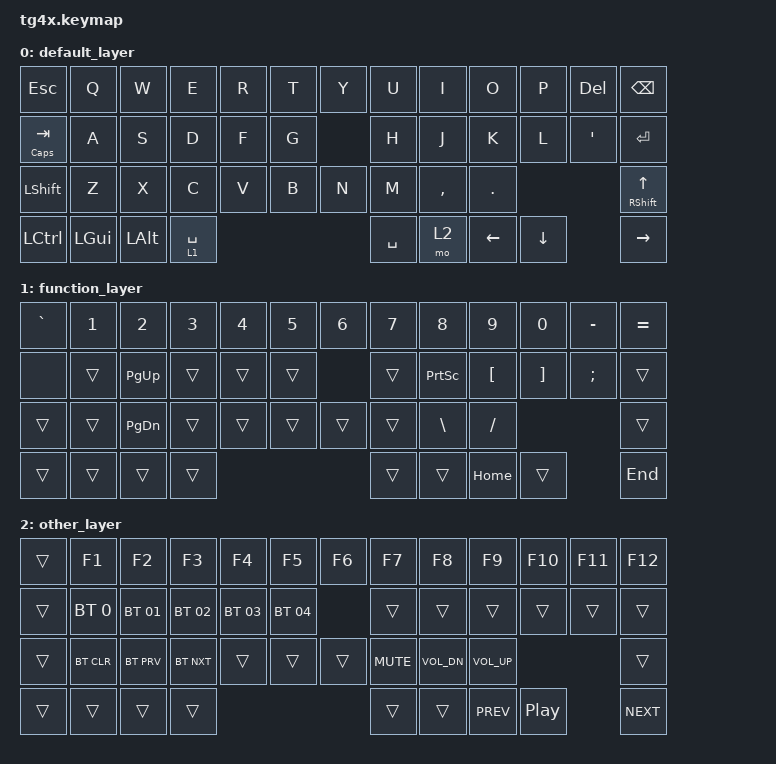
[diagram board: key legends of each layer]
/*
 * Copyright (c) 2020 The ZMK Contributors
 *
 * SPDX-License-Identifier: MIT
 */

#include <behaviors.dtsi>
#include <dt-bindings/zmk/keys.h>
#include <dt-bindings/zmk/bt.h>

/ {
	behaviors {
		ht: hold_tap {
			compatible = "zmk,behavior-hold-tap";
			label = "Hold Tap";
			#binding-cells = <2>;
			tapping-term-ms = <200>;
			flavor = "tap-preferred";
			bindings = <&kp>, <&kp>;
		};
	};

	keymap {
		compatible = "zmk,keymap";

		default_layer {
			bindings = <
&kp ESC      &kp Q    &kp W    &kp E       &kp R &kp T &kp Y &kp U    &kp I     &kp O    &kp P    &kp DEL  &kp BSPC
&ht CAPS TAB &kp A    &kp S    &kp D       &kp F &kp G &kp H &kp J    &kp K     &kp L    &kp APOS           &kp RET
&kp LSHFT    &kp Z    &kp X    &kp C       &kp V &kp B &kp N &kp M    &kp COMMA &kp DOT                     &ht RSHFT UP
&kp LCTRL    &kp LGUI &kp LALT &lt 1 SPACE                  &kp SPACE &mo 2     &kp LEFT &kp DOWN           &kp RIGHT
			>;
		};

		function_layer {
			bindings = <
&kp GRAVE &kp N1   &kp N2    &kp N3 &kp N4 &kp N5 &kp N6   &kp N7    &kp N8    &kp N9    &kp N0   &kp MINUS &kp EQUAL
&none     &trans   &kp PG_UP &trans &trans &trans &trans   &kp PSCRN &kp LBKT  &kp RBKT  &kp SEMI           &trans
&trans    &trans   &kp PG_DN &trans &trans &trans &trans   &trans    &kp BSLH  &kp FSLH                     &trans
&trans    &trans   &trans    &trans                        &trans    &trans    &kp HOME  &trans             &kp END
			>;
		};

		other_layer {
			bindings = <
&trans     &kp F1       &kp F2        &kp F3        &kp F4        &kp F5        &kp F6 &kp F7     &kp F8         &kp F9       &kp F10  &kp F11 &kp F12
&trans     &bt BT_SEL 0 &bt BT_SEL 01 &bt BT_SEL 02 &bt BT_SEL 03 &bt BT_SEL 04 &trans &trans     &trans         &trans       &trans           &trans
&trans     &bt BT_CLR   &bt BT_PRV    &bt BT_NXT    &trans        &trans        &trans &kp C_MUTE &kp C_VOL_DN   &kp C_VOL_UP                  &trans
&trans     &trans       &trans        &trans                                    &trans &trans     &kp C_PREV     &kp C_PP                      &kp C_NEXT
			>;
		};

	};
};
